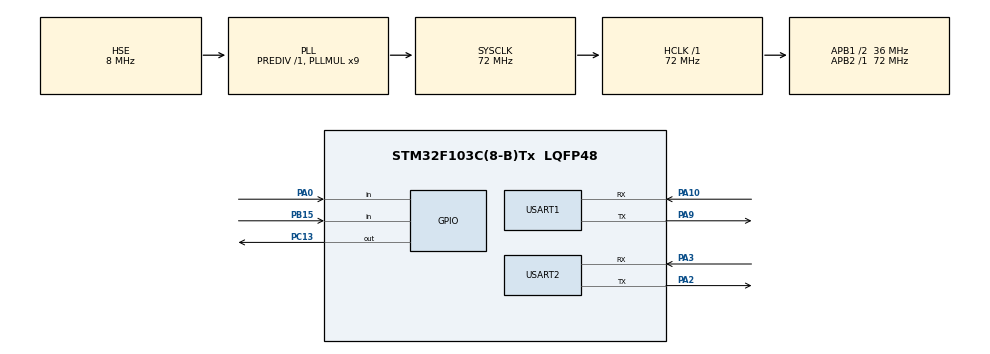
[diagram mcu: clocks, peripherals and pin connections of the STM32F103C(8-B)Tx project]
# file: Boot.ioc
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Mcu.Family=STM32F1
Mcu.Name=STM32F103C(8-B)Tx
Mcu.Package=LQFP48
NVIC.PriorityGroup=NVIC_PRIORITYGROUP_4
NVIC.TIM4_IRQn=true\:15\:0\:false\:false\:true\:false\:true\:true
NVIC.TimeBase=TIM4_IRQn
NVIC.TimeBaseIP=TIM4
PA0-WKUP.GPIO_PuPd=GPIO_PULLUP
PA0-WKUP.Signal=GPIO_Input
PA10.Mode=Asynchronous
PA10.Signal=USART1_RX
PA13.Mode=Serial_Wire
PA13.Signal=SYS_JTMS-SWDIO
PA14.Mode=Serial_Wire
PA14.Signal=SYS_JTCK-SWCLK
PA2.Mode=Asynchronous
PA2.Signal=USART2_TX
PA3.Mode=Asynchronous
PA3.Signal=USART2_RX
PA9.Mode=Asynchronous
PA9.Signal=USART1_TX
PB15.GPIO_PuPd=GPIO_PULLUP
PB15.Signal=GPIO_Input
PC13-TAMPER-RTC.Signal=GPIO_Output
PD0-OSC_IN.Mode=HSE-External-Oscillator
PD0-OSC_IN.Signal=RCC_OSC_IN
PD1-OSC_OUT.Mode=HSE-External-Oscillator
PD1-OSC_OUT.Signal=RCC_OSC_OUT
ProjectManager.HeapSize=0x200
ProjectManager.StackSize=0x400
ProjectManager.TargetToolchain=MDK-ARM V5.32
RCC.AHBFreq_Value=72000000
RCC.APB1CLKDivider=RCC_HCLK_DIV2
RCC.APB1Freq_Value=36000000
RCC.APB1TimFreq_Value=72000000
RCC.APB2Freq_Value=72000000
RCC.APB2TimFreq_Value=72000000
RCC.HCLKFreq_Value=72000000
RCC.PLLMUL=RCC_PLL_MUL9
RCC.PLLSourceVirtual=RCC_PLLSOURCE_HSE
RCC.SYSCLKFreq_VALUE=72000000
RCC.SYSCLKSource=RCC_SYSCLKSOURCE_PLLCLK
RCC.USBFreq_Value=72000000
USART1.VirtualMode=VM_ASYNC
USART2.VirtualMode=VM_ASYNC
VP_SYS_VS_tim4.Mode=TIM4
board=custom

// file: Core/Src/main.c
/* USER CODE BEGIN Header */
/**
  ******************************************************************************
  * @file           : main.c
  * @brief          : Main program body
  ******************************************************************************
  * @attention
  *
  * Copyright (c) 2023 STMicroelectronics.
  * All rights reserved.
  *
  * This software is licensed under terms that can be found in the LICENSE file
  * in the root directory of this software component.
  * If no LICENSE file comes with this software, it is provided AS-IS.
  *
  ******************************************************************************
  */
/* USER CODE END Header */
#include "main.h"

UART_HandleTypeDef huart1;
UART_HandleTypeDef huart2;

void SystemClock_Config(void);
static void MX_GPIO_Init(void);
static void MX_USART1_UART_Init(void);
static void MX_USART2_UART_Init(void);

/* USER CODE BEGIN 0 */
#define ADDR_APP_PROGRAM 0X8004000
typedef void (*run_app_handler)(void);
run_app_handler run_app;

void run_app_program()
{
	HAL_RCC_DeInit();
	HAL_DeInit();
	SCB->SHCSR &= ~(SCB_SHCSR_USGFAULTENA_Msk |
	SCB_SHCSR_BUSFAULTENA_Msk |
	SCB_SHCSR_MEMFAULTENA_Msk);
	__set_MSP(*((volatile uint32_t*) ADDR_APP_PROGRAM));
	run_app = (run_app_handler)*((volatile uint32_t*) (ADDR_APP_PROGRAM+ 4) );
	run_app();
}
/* USER CODE END 0 */

int main(void)
{

  /* MCU Configuration--------------------------------------------------------*/

  /* Reset of all peripherals, Initializes the Flash interface and the Systick. */
  HAL_Init();

  /* Configure the system clock */
  SystemClock_Config();

  /* Initialize all configured peripherals */
  MX_GPIO_Init();
  MX_USART1_UART_Init();
  MX_USART2_UART_Init();
  /* USER CODE BEGIN 2 */
	HAL_UART_Transmit(&huart2, (uint8_t *)"----------Bootloader----------\n", 31, 100);
  /* USER CODE END 2 */

  /* Infinite loop */
  while (1)
  {

    /* USER CODE BEGIN 3 */
		static uint32_t t_blink;
		if (HAL_GetTick() - t_blink >= 200)
		{
			HAL_GPIO_TogglePin(GPIOC, GPIO_PIN_13);
			t_blink = HAL_GetTick();
		}
		if (HAL_GPIO_ReadPin(GPIOB, GPIO_PIN_15) == 0)
		{
			HAL_UART_Transmit(&huart2, (uint8_t *)"----------Application----------\n", 31, 100);
			run_app_program();
		}
  }
  /* USER CODE END 3 */
}

void SystemClock_Config(void)
{
  RCC_OscInitTypeDef RCC_OscInitStruct = {0};
  RCC_ClkInitTypeDef RCC_ClkInitStruct = {0};

  /** Initializes the RCC Oscillators according to the specified parameters
  * in the RCC_OscInitTypeDef structure.
  */
  RCC_OscInitStruct.OscillatorType = RCC_OSCILLATORTYPE_HSE;
  RCC_OscInitStruct.HSEState = RCC_HSE_ON;
  RCC_OscInitStruct.HSEPredivValue = RCC_HSE_PREDIV_DIV1;
  RCC_OscInitStruct.HSIState = RCC_HSI_ON;
  RCC_OscInitStruct.PLL.PLLState = RCC_PLL_ON;
  RCC_OscInitStruct.PLL.PLLSource = RCC_PLLSOURCE_HSE;
  RCC_OscInitStruct.PLL.PLLMUL = RCC_PLL_MUL9;
  if (HAL_RCC_OscConfig(&RCC_OscInitStruct) != HAL_OK)
  {
    Error_Handler();
  }

  /** Initializes the CPU, AHB and APB buses clocks
  */
  RCC_ClkInitStruct.ClockType = RCC_CLOCKTYPE_HCLK|RCC_CLOCKTYPE_SYSCLK
                              |RCC_CLOCKTYPE_PCLK1|RCC_CLOCKTYPE_PCLK2;
  RCC_ClkInitStruct.SYSCLKSource = RCC_SYSCLKSOURCE_PLLCLK;
  RCC_ClkInitStruct.AHBCLKDivider = RCC_SYSCLK_DIV1;
  RCC_ClkInitStruct.APB1CLKDivider = RCC_HCLK_DIV2;
  RCC_ClkInitStruct.APB2CLKDivider = RCC_HCLK_DIV1;

  if (HAL_RCC_ClockConfig(&RCC_ClkInitStruct, FLASH_LATENCY_2) != HAL_OK)
  {
    Error_Handler();
  }
}

static void MX_USART1_UART_Init(void)
{

  huart1.Instance = USART1;
  huart1.Init.BaudRate = 115200;
  huart1.Init.WordLength = UART_WORDLENGTH_8B;
  huart1.Init.StopBits = UART_STOPBITS_1;
  huart1.Init.Parity = UART_PARITY_NONE;
  huart1.Init.Mode = UART_MODE_TX_RX;
  huart1.Init.HwFlowCtl = UART_HWCONTROL_NONE;
  huart1.Init.OverSampling = UART_OVERSAMPLING_16;
  if (HAL_UART_Init(&huart1) != HAL_OK)
  {
    Error_Handler();
  }

}

static void MX_USART2_UART_Init(void)
{

  huart2.Instance = USART2;
  huart2.Init.BaudRate = 115200;
  huart2.Init.WordLength = UART_WORDLENGTH_8B;
  huart2.Init.StopBits = UART_STOPBITS_1;
  huart2.Init.Parity = UART_PARITY_NONE;
  huart2.Init.Mode = UART_MODE_TX_RX;
  huart2.Init.HwFlowCtl = UART_HWCONTROL_NONE;
  huart2.Init.OverSampling = UART_OVERSAMPLING_16;
  if (HAL_UART_Init(&huart2) != HAL_OK)
  {
    Error_Handler();
  }

}

static void MX_GPIO_Init(void)
{
  GPIO_InitTypeDef GPIO_InitStruct = {0};

  /* GPIO Ports Clock Enable */
  __HAL_RCC_GPIOC_CLK_ENABLE();
  __HAL_RCC_GPIOD_CLK_ENABLE();
  __HAL_RCC_GPIOA_CLK_ENABLE();
  __HAL_RCC_GPIOB_CLK_ENABLE();

  /*Configure GPIO pin Output Level */
  HAL_GPIO_WritePin(GPIOC, GPIO_PIN_13, GPIO_PIN_RESET);

  /*Configure GPIO pin : PC13 */
  GPIO_InitStruct.Pin = GPIO_PIN_13;
  GPIO_InitStruct.Mode = GPIO_MODE_OUTPUT_PP;
  GPIO_InitStruct.Pull = GPIO_NOPULL;
  GPIO_InitStruct.Speed = GPIO_SPEED_FREQ_LOW;
  HAL_GPIO_Init(GPIOC, &GPIO_InitStruct);

  /*Configure GPIO pin : PA0 */
  GPIO_InitStruct.Pin = GPIO_PIN_0;
  GPIO_InitStruct.Mode = GPIO_MODE_INPUT;
  GPIO_InitStruct.Pull = GPIO_PULLUP;
  HAL_GPIO_Init(GPIOA, &GPIO_InitStruct);

  /*Configure GPIO pin : PB15 */
  GPIO_InitStruct.Pin = GPIO_PIN_15;
  GPIO_InitStruct.Mode = GPIO_MODE_INPUT;
  GPIO_InitStruct.Pull = GPIO_PULLUP;
  HAL_GPIO_Init(GPIOB, &GPIO_InitStruct);

}

void HAL_TIM_PeriodElapsedCallback(TIM_HandleTypeDef *htim)
{
  if (htim->Instance == TIM4) {
    HAL_IncTick();
  }
}

void Error_Handler(void)
{
  __disable_irq();
  while (1)
  {
  }
}
